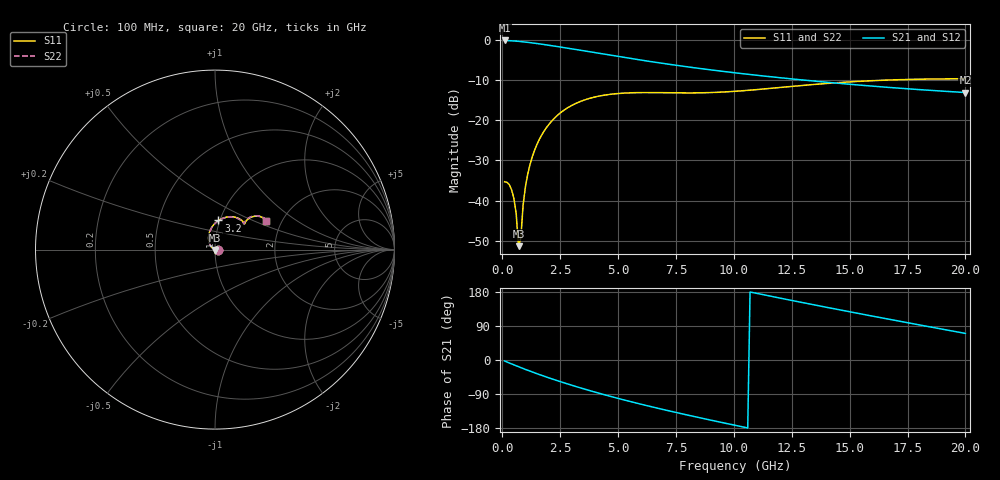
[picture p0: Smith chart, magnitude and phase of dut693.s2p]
! Touchstone file exported from HFSS 2024.1.0
!  File:  C:/UserFiles/LocalFiles/RDL_TSV_Batchsim/temp_RDL_TSV_693_1779819670.aedt
!  Generated:  02:37:13 AM May 27, 2026
!  Design:  RDL_TSV
!  Project:  temp_RDL_TSV_693_1779819670
!  Setup:  Setup1
!  Solution:  Sweep
! Variables:
!  dtsv = 13.97um
!  hbump = 3um
!  htsv = 76.5um
!  ldown = 647.46um
!  lrdl = 596.6um
!  p = 40
!  p1 = 54.06um
!  rhole = 10um
!  subl = 4328.78um
!  t = 450um
!  tdown = 4.77um
!  trdl = 3.03um
!  viad = 10um
!  wdown = 24.19um
!  wrdl = 25.68um
!  xbump = 18um
# GHz S MA R 50.000000
! Terminal data exported
! Port[1] = TM1_1_T1
! Port[2] = TM1_4_T1
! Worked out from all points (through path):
!   200 points, 100 MHz to 20 GHz, reference 50 ohm
!   highest |S21| = -0.16 dB at 100 MHz (marker M1); lowest = -13.1 dB at 20 GHz (marker M2)
!   group delay of S21, straight-line fit = 38.1 ps
!   lowest |S11| = -51.3 dB at 700 MHz (marker M3), VSWR 1.01, Z = 50.1 - j0.233 ohm
!   |S11| at or under -10 dB: start of sweep to 16.67 GHz
!   |S22| runs from -50.9 to -9.7 dB; largest |S21 - S12| = 8e-15
!   S11 on the Smith chart (normalised r, x): 100 MHz: 1.03, -0.00; 3.2 GHz: 0.98, +0.33; 20 GHz: 1.67, +0.60
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0.1  0.01718 -1.0  0.9819 -2.6  0.9819 -2.6  0.01719 -1.0
! Gamma 0 0 0 0
! Port Impedance 50 0 50 0
0.3  0.01582 -8.6  0.9762 -7.8  0.9762 -7.8  0.01585 -8.7
0.5  0.0107 -21.0  0.9679 -12.8  0.9679 -12.8  0.01077 -21.1
0.6  0.006918 -30.6  0.963 -15.3  0.963 -15.3  0.007024 -30.6
0.7  0.002718 -58.6  0.9574 -17.7  0.9574 -17.7  0.002846 -57.4
0.8  0.003435 -176.9  0.9514 -20.1  0.9514 -20.1  0.003295 -175.0
0.9  0.008876 160.9  0.9449 -22.5  0.9449 -22.5  0.008663 161.4
1  0.01498 152.4  0.9379 -24.9  0.9379 -24.9  0.01471 152.7
1.2  0.02836 141.7  0.9231 -29.5  0.9231 -29.5  0.02799 141.9
1.4  0.04279 133.4  0.9073 -34.0  0.9073 -34.0  0.04229 133.5
1.7  0.06534 122.6  0.8825 -40.6  0.8825 -40.6  0.06466 122.6
2.1  0.09521 110.1  0.8485 -48.9  0.8485 -48.9  0.09427 110.1
2.6  0.1294 96.8  0.8061 -59.0  0.8061 -59.0  0.1281 96.8
3.2  0.1632 83.4  0.7562 -70.4  0.7562 -70.4  0.1616 83.4
3.5  0.1768 77.6  0.732 -75.9  0.732 -75.9  0.175 77.6
5.1  0.216 55.1  0.6147 -103.0  0.6147 -103.0  0.2133 55.1
6.8  0.2202 43.5  0.5159 -128.6  0.5159 -128.6  0.2173 43.8
8.3  0.2188 41.0  0.449 -149.4  0.449 -149.4  0.216 41.5
10.1  0.2294 42.2  0.3874 -172.9  0.3874 -172.9  0.2275 42.9
13.4  0.2777 41.3  0.3082 146.3  0.3082 146.3  0.2775 41.8
16.7  0.3164 34.9  0.2558 107.6  0.2558 107.6  0.3171 35.3
20  0.3279 29.2  0.2211 70.1  0.2211 70.1  0.3289 29.4
